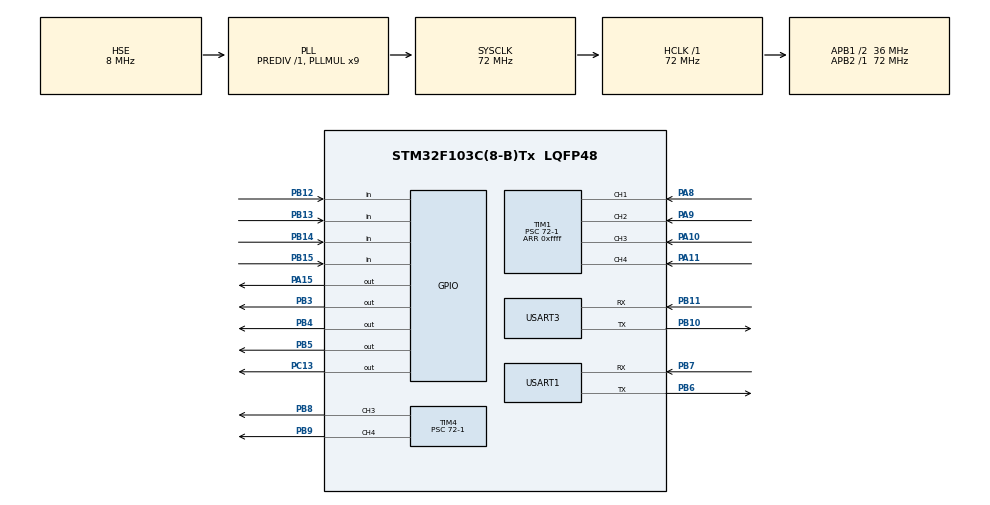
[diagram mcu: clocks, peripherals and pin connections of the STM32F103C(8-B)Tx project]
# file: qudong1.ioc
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Dma.Request0=USART1_RX
Dma.Request1=USART1_TX
Dma.Request2=USART3_RX
Dma.Request3=USART3_TX
Dma.USART1_RX.0.Direction=DMA_PERIPH_TO_MEMORY
Dma.USART1_RX.0.Instance=DMA1_Channel5
Dma.USART1_RX.0.MemDataAlignment=DMA_MDATAALIGN_BYTE
Dma.USART1_RX.0.MemInc=DMA_MINC_ENABLE
Dma.USART1_RX.0.Mode=DMA_CIRCULAR
Dma.USART1_RX.0.PeriphDataAlignment=DMA_PDATAALIGN_BYTE
Dma.USART1_RX.0.PeriphInc=DMA_PINC_DISABLE
Dma.USART1_RX.0.Priority=DMA_PRIORITY_LOW
Dma.USART1_TX.1.Direction=DMA_MEMORY_TO_PERIPH
Dma.USART1_TX.1.Instance=DMA1_Channel4
Dma.USART1_TX.1.MemDataAlignment=DMA_MDATAALIGN_BYTE
Dma.USART1_TX.1.MemInc=DMA_MINC_ENABLE
Dma.USART1_TX.1.Mode=DMA_CIRCULAR
Dma.USART1_TX.1.PeriphDataAlignment=DMA_PDATAALIGN_BYTE
Dma.USART1_TX.1.PeriphInc=DMA_PINC_DISABLE
Dma.USART1_TX.1.Priority=DMA_PRIORITY_LOW
Dma.USART3_RX.2.Direction=DMA_PERIPH_TO_MEMORY
Dma.USART3_RX.2.Instance=DMA1_Channel3
Dma.USART3_RX.2.MemDataAlignment=DMA_MDATAALIGN_BYTE
Dma.USART3_RX.2.MemInc=DMA_MINC_ENABLE
Dma.USART3_RX.2.Mode=DMA_NORMAL
Dma.USART3_RX.2.PeriphDataAlignment=DMA_PDATAALIGN_BYTE
Dma.USART3_RX.2.PeriphInc=DMA_PINC_DISABLE
Dma.USART3_RX.2.Priority=DMA_PRIORITY_LOW
Dma.USART3_TX.3.Direction=DMA_MEMORY_TO_PERIPH
Dma.USART3_TX.3.Instance=DMA1_Channel2
Dma.USART3_TX.3.MemDataAlignment=DMA_MDATAALIGN_BYTE
Dma.USART3_TX.3.MemInc=DMA_MINC_ENABLE
Dma.USART3_TX.3.Mode=DMA_CIRCULAR
Dma.USART3_TX.3.PeriphDataAlignment=DMA_PDATAALIGN_BYTE
Dma.USART3_TX.3.PeriphInc=DMA_PINC_DISABLE
Dma.USART3_TX.3.Priority=DMA_PRIORITY_LOW
Mcu.Family=STM32F1
Mcu.Name=STM32F103C(8-B)Tx
Mcu.Package=LQFP48
NVIC.DMA1_Channel2_IRQn=true\:0\:0\:false\:false\:true\:false\:true\:true
NVIC.DMA1_Channel3_IRQn=true\:0\:0\:false\:false\:true\:false\:true\:true
NVIC.DMA1_Channel4_IRQn=true\:0\:0\:false\:false\:true\:false\:true\:true
NVIC.DMA1_Channel5_IRQn=true\:0\:0\:false\:false\:true\:false\:true\:true
NVIC.PriorityGroup=NVIC_PRIORITYGROUP_4
NVIC.TIM1_CC_IRQn=true\:0\:0\:true\:false\:true\:true\:true\:true
NVIC.TIM2_IRQn=true\:0\:0\:true\:false\:true\:true\:true\:true
NVIC.TIM3_IRQn=true\:0\:0\:false\:false\:true\:true\:true\:true
NVIC.TIM4_IRQn=true\:0\:0\:true\:false\:true\:true\:true\:true
NVIC.USART1_IRQn=true\:0\:0\:true\:false\:true\:true\:true\:true
NVIC.USART3_IRQn=true\:0\:0\:true\:false\:true\:true\:true\:true
PA10.Signal=S_TIM1_CH3
PA11.Signal=S_TIM1_CH4
PA13.Mode=Serial_Wire
PA13.Signal=SYS_JTMS-SWDIO
PA14.Mode=Serial_Wire
PA14.Signal=SYS_JTCK-SWCLK
PA15.PinState=GPIO_PIN_RESET
PA15.Signal=GPIO_Output
PA8.Signal=S_TIM1_CH1
PA9.Signal=S_TIM1_CH2
PB10.Mode=Asynchronous
PB10.Signal=USART3_TX
PB11.Mode=Asynchronous
PB11.Signal=USART3_RX
PB12.Signal=GPIO_Input
PB13.Signal=GPIO_Input
PB14.Signal=GPIO_Input
PB15.Signal=GPIO_Input
PB3.PinState=GPIO_PIN_RESET
PB3.Signal=GPIO_Output
PB4.PinState=GPIO_PIN_RESET
PB4.Signal=GPIO_Output
PB5.PinState=GPIO_PIN_RESET
PB5.Signal=GPIO_Output
PB6.Mode=Asynchronous
PB6.Signal=USART1_TX
PB7.Mode=Asynchronous
PB7.Signal=USART1_RX
PB8.Signal=S_TIM4_CH3
PB9.Signal=S_TIM4_CH4
PC13-TAMPER-RTC.Signal=GPIO_Output
PD0-OSC_IN.Mode=HSE-External-Oscillator
PD0-OSC_IN.Signal=RCC_OSC_IN
PD1-OSC_OUT.Mode=HSE-External-Oscillator
PD1-OSC_OUT.Signal=RCC_OSC_OUT
ProjectManager.HeapSize=0x200
ProjectManager.StackSize=0x400
ProjectManager.TargetToolchain=MDK-ARM V5.32
RCC.AHBFreq_Value=72000000
RCC.APB1CLKDivider=RCC_HCLK_DIV2
RCC.APB1Freq_Value=36000000
RCC.APB1TimFreq_Value=72000000
RCC.APB2Freq_Value=72000000
RCC.APB2TimFreq_Value=72000000
RCC.HCLKFreq_Value=72000000
RCC.PLLMUL=RCC_PLL_MUL9
RCC.PLLSourceVirtual=RCC_PLLSOURCE_HSE
RCC.SYSCLKFreq_VALUE=72000000
RCC.SYSCLKSource=RCC_SYSCLKSOURCE_PLLCLK
RCC.USBFreq_Value=72000000
SH.S_TIM1_CH1.0=TIM1_CH1,Input_Capture1_from_TI1
SH.S_TIM1_CH2.0=TIM1_CH2,Input_Capture2_from_TI2
SH.S_TIM1_CH3.0=TIM1_CH3,Input_Capture3_from_TI3
SH.S_TIM1_CH4.0=TIM1_CH4,Input_Capture4_from_TI4
SH.S_TIM4_CH3.0=TIM4_CH3,PWM Generation3 CH3
SH.S_TIM4_CH4.0=TIM4_CH4,PWM Generation4 CH4
TIM1.Channel-Input_Capture1_from_TI1=TIM_CHANNEL_1
TIM1.Channel-Input_Capture2_from_TI2=TIM_CHANNEL_2
TIM1.Channel-Input_Capture3_from_TI3=TIM_CHANNEL_3
TIM1.Channel-Input_Capture4_from_TI4=TIM_CHANNEL_4
TIM1.Period=0xffff
TIM1.Prescaler=72-1
TIM1.RepetitionCounter=0
TIM2.Period=5000
TIM2.Prescaler=719
TIM3.Period=9999
TIM3.Prescaler=7199
TIM4.Channel-PWM\ Generation3\ CH3=TIM_CHANNEL_3
TIM4.Channel-PWM\ Generation4\ CH4=TIM_CHANNEL_4
TIM4.Period=1000
TIM4.Prescaler=72-1
USART1.VirtualMode=VM_ASYNC
USART3.VirtualMode=VM_ASYNC
VP_TIM2_VS_ClockSourceINT.Mode=Internal
VP_TIM3_VS_ClockSourceINT.Mode=Internal
VP_TIM4_VS_ClockSourceINT.Mode=Internal
board=custom

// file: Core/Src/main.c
/* USER CODE BEGIN Header */
/* USER CODE END Header */
#include "main.h"
#include "dma.h"
#include "tim.h"
#include "usart.h"
#include "gpio.h"

/* USER CODE BEGIN Includes */
#include "stdio.h"
#include "stdlib.h"
/* USER CODE END Includes */

/* USER CODE BEGIN PTD */
uint8_t rx_buf1=0;                           //串口通讯数据储存
uint8_t rx_buf2[10] = {0};
uint8_t rx_buf3[5]="aaaa";
float capture_buf3=0,capture_buf4=0;        //pid计算时间控制参数
int capture_flag3=0,capture_flag4=0;
# define paraspeed 330000                   //速度计算参数
#define  targestangz 80
int startflag=0;
//小车姿态结构体
struct gesture
{
	float angz;			//车头偏差角度
//	float angx;
//	float angy;
	float w;
	float x3;
	float x4;
	float v3;            //right speed
	float v4;            //left speed
	float x;
	float pwm_angz;			 //小车角度PID输出
  float pwm_v3;
  float pwm_v4;        //PID的输出
};

struct pidstruct
{
	float kp,ki,kd;
	float p,i,d;
	float thisde,lastde,beforede;
	float integralde;
};

struct gesture curgest;   //当前姿态
struct gesture targest;   //目标姿态
//struct gesture inigest;
//struct pidstruct angxpid;
//struct pidstruct angypid;
struct pidstruct angzpid;  //角度PID配置
struct pidstruct x3pid;
struct pidstruct x4pid;
struct pidstruct v3pid;
struct pidstruct v4pid;   //速度PID配置
float pidK;										//pid的系数（）方便调试
float inittarspeed;
/* USER CODE END PTD */

/* USER CODE BEGIN PD */
void SystemClock_Config(void);
void Task_Delay(int time);                              //任务定时器
void Wheel(int num,int pwm);                                            //选择轮子并设定pwm控速
void HAL_TIM_IC_CaptureCallback(TIM_HandleTypeDef *htim);//Input capture NVIC   //测速使用的中断函数
float PID(struct pidstruct *e,float err,float outlow,float outhigh);    //位置式PID函数
float Incremental_PID(struct pidstruct *e,float err, float MaxOutput,float MinOutput) ;     //增量式PID
/* USER CODE END PD */

void SystemClock_Config(void);
/* USER CODE BEGIN PFP */
int fputc(int ch,FILE *f)
//fputc是c语言中printf的底层函数，为了使其能在串口中使用，需要重新定义一下这个函数
{
	HAL_UART_Transmit(&huart1,(uint8_t*)&ch,1,10);
	return ch;
}
//接收字符串转换成数字
int transfer_int(uint8_t *data)
{
	int transfer=0;
	for(int i=0;i<5;i++)
	{

	 if(data[i]<='9'&&data[i]>='0')
	 {
     transfer+=(data[i]-48);
		 if(data[i+1]<='9'&&data[i+1]>='0')
		 {
			 transfer*=10;
		 }
		 else
		 {
			 break;
		 }
	 }
  }
	return transfer;
}
void Wheel(int num,int pwm)      //通过PWM信号直接控制电机转速
{
	int direct;
	if(pwm>1000) pwm=1000;
	if(pwm<-1000) pwm=-1000;

	if(pwm>=0)  direct=1;
	if(pwm<0)   direct=0;

	switch(num){
		case 3:
			switch(direct){
				case 0:
					__HAL_TIM_SET_COMPARE(&htim4,TIM_CHANNEL_3,1000+pwm);//w3_pwm_out
					HAL_GPIO_WritePin(GPIOB,GPIO_PIN_3,1);//w3_gpio_out
					break;
				case 1:
					__HAL_TIM_SET_COMPARE(&htim4,TIM_CHANNEL_3,pwm);//w3_pwm_out
					HAL_GPIO_WritePin(GPIOB,GPIO_PIN_3,0);//w3_gpio_out
					break;
			}
			break;
		case 4:
			switch(direct){
				case 0:
					__HAL_TIM_SET_COMPARE(&htim4,TIM_CHANNEL_4,-pwm);//w4_pwm_out
					HAL_GPIO_WritePin(GPIOA,GPIO_PIN_15,0);//w4_gpio_out
					break;
				case 1:
					__HAL_TIM_SET_COMPARE(&htim4,TIM_CHANNEL_4,1000-pwm);//w4_pwm_out
					HAL_GPIO_WritePin(GPIOA,GPIO_PIN_15,1);//w4_gpio_out
					break;
			}
			break;
	}

}
void HAL_TIM_IC_CaptureCallback(TIM_HandleTypeDef *htim)//input capture NVIC     测速
{
	static float catch1[3], catch2[3];
	int judge1, judge2;
	if (htim==&htim1 && htim->Channel==HAL_TIM_ACTIVE_CHANNEL_3)//w3_gpio_in
	{
		judge1=HAL_GPIO_ReadPin (GPIOB, GPIO_PIN_14) ;
		catch1[1]=HAL_TIM_ReadCapturedValue (htim, TIM_CHANNEL_3) ;
		catch1[2]=catch1[1]-catch1[0];
		if (catch1[2]<0) catch1[2]+=0xffff;
		catch1[0]=catch1[1];
		capture_buf3+=catch1[2];       //累计时间
		capture_flag3++;              //标志位 标记累计次数
		if(capture_flag3>11)
		{
		 curgest.v3 =paraspeed/capture_buf3;
		 capture_buf3=0;
		 capture_flag3=0;
		}
	}
	if (htim==&htim1 && htim->Channel==HAL_TIM_ACTIVE_CHANNEL_4)//w4_gpio_in
	{
		judge2=HAL_GPIO_ReadPin (GPIOB, GPIO_PIN_15) ;
		catch2[1]=HAL_TIM_ReadCapturedValue (htim, TIM_CHANNEL_4) ;
		catch2[2]=catch2[1]-catch2[0];
		if (catch2[2]<0) catch2[2]+=0xffff;
		catch2[0]=catch2[1];
		curgest.x4+=0.52f;
		capture_buf4+=catch2[2];       //累计时间
		capture_flag4++;              //标志位 标记累计次数
		if(capture_flag4>11)
		{
		   curgest.v4 =paraspeed/capture_buf4;
		   capture_buf4=0;
		   capture_flag4=0;
		}
	}

}

void DataGet1(uint8_t rx_buf)//蓝牙 通过手机直接来调节PID并且可以显示速度
{
		switch(rx_buf)
		{
			case 'a': v3pid.kp-=1;printf("v3pid.kp%f\r\n",v3pid.kp);break  ;
			case 'b': v3pid.ki-=0.1;printf("v3pid.ki%f\r\n",v3pid.ki);break ;
			case 'c': v3pid.kd-=1;printf("v3pid.kd%f\r\n",v3pid.kd);break  ;
			case 'A': v3pid.kp+=1;printf("v3pid.kp%f\r\n",v3pid.kp);break  ;
			case 'B': v3pid.ki+=1;printf("v3pid.ki%f\r\n",v3pid.ki);break  ;
			case 'C': v3pid.kd+=1;printf("v3pid.kd%f\r\n",v3pid.kd);break  ;
			case 'd': v4pid.kp-=1;printf("v4pid,kp%f\r\n",v4pid.kp);break  ;
			case 'e': v4pid.ki-=0.1;printf("v4pid.ki%f\r\n",v4pid.ki);break  ;
			case 'f': v4pid.kd-=1;printf("v4pid.kd%f\r\n",v4pid.kd);break  ;
			case 'D': v4pid.kp+=1;printf("v4pid.kp%f\r\n",v4pid.kp);break  ;
			case 'E': v4pid.ki+=0.1;printf("v4pid.ki%f\r\n",v4pid.ki);break  ;
			case 'F': v4pid.kd+=0.1;printf("v4pid.kd%f\r\n",v4pid.kd);break  ;

			case 'g': printf("l s%f n%f\r\n",targest.v4,curgest.v4);break;
			case 'G': printf("r s%f n%f\r\n",targest.v3,curgest.v3);break;

//			case 'a': angzpid.kp-=0.1;printf("angzpid.kp%f\r\n",angzpid.kp);break  ;
//			case 'b': angzpid.ki-=0.01;printf("angzpid.ki%f\r\n",angzpid.ki);break  ;
//			case 'c': angzpid.kd-=0.1;printf("angzpid.kd%f\r\n",angzpid.kd);break  ;
//			case 'A': angzpid.kp+=0.1;printf("angzpid.kp%f\r\n",angzpid.kp);break  ;
//			case 'B': angzpid.ki+=0.01;printf("angzpid.ki%f\r\n",angzpid.ki);break  ;
//			case 'C': angzpid.kd+=0.1;printf("angzpid.kd%f\r\n",angzpid.kd);break  ;
//			case 'd': pidK -= 0.1; printf("current pidk is %f\r\n",pidK);break;
//			case 'D': pidK += 0.1; printf("current pidk is %f\r\n",pidK);break;
//			case 'e': printf("pwmright%f\r\n",curgest.pwm_v3 );break  ;
//		  case 'E': printf("pwmleft%f\r\n",curgest.pwm_v4 );break  ;
//			case 'h': inittarspeed-= 1; printf("inittar is %f\r\n",inittarspeed);break;
//			case 'H': inittarspeed+= 1; printf("inittar is %f\r\n",inittarspeed);break;
      default: break  ;
		}
		HAL_UART_Receive_IT(&huart1,&rx_buf1,1);
}
void DataGet2(uint8_t data)//陀螺仪
{

}
void DataGet3(uint8_t *data)              //树莓派通讯 输入角度参数
{
	  int angz;
	 angz=transfer_int(data);
   curgest.angz=angz;
		if(curgest.angz>83&&curgest.angz<250)
		{
		targest.v4=inittarspeed-PID(&angzpid,targest.angz-curgest.angz,-20,20) * pidK;
	  targest.v3=inittarspeed+PID(&angzpid,targest.angz-curgest.angz,-20,20) * pidK;
		}
		else if(curgest.angz<77)
		{
		targest.v4=inittarspeed-PID(&angzpid,targest.angz-curgest.angz,-20,20) * pidK;
	  targest.v3=inittarspeed+PID(&angzpid,targest.angz-curgest.angz,-20,20) * pidK;
		}
//		else if(curgest.angz==255)
//		{
//			inittarspeed=0;
//			targest.v4=0;
//      targest.v3=0;
//      HAL_TIM_Base_Start_IT(&htim3);
//		}
//		else if(curgest.angz==254)
//		{
//			inittarspeed=0;
//			targest.v4=0;
//      targest.v3=0;
//		}
		else
		{
		targest.v4=inittarspeed;
	  targest.v3=inittarspeed;
		}

	 HAL_UART_Receive_IT(&huart3,rx_buf3,4);
	 HAL_GPIO_TogglePin(GPIOC,GPIO_PIN_13);

}
void HAL_UART_RxCpltCallback(UART_HandleTypeDef *huart)//串口中断 接收完成回调函数  stm32的三个串口一旦接收完成了数据都会进入这个函数
{
	if(huart == &huart3)
	{
		DataGet3(rx_buf3);
	}
	if(huart == &huart1)            //蓝牙通讯串口
	{
		DataGet1(rx_buf1);
	}
}
void HAL_TIM_PeriodElapsedCallback(TIM_HandleTypeDef *htim)        //定时器计算PID 频率为50Hz
{
	if(htim->Instance == TIM2)
	{
		targest.pwm_v3+=Incremental_PID(&v3pid,targest.v3-curgest.v3, 500,-500);
		targest.pwm_v4+=Incremental_PID(&v4pid,targest.v4-curgest.v4, 500,-500);
  }
	if(htim->Instance == TIM3)
	{

//		startflag+=1;
//		if(startflag==5)
//		{
//			HAL_TIM_Base_Stop_IT(&htim3);
//			inittarspeed=45;
//			targest.v4=inittarspeed;
//      targest.v3=inittarspeed;
//
//		}
	}
}
float PID(struct pidstruct *e,float err,float outlow,float outhigh)     //位置式PID
{
	float out;
	e->thisde=err;
	e->integralde+=e->thisde;
	if (e->integralde >= 8) e->integralde = 8;
	e->p = e->kp * e->thisde;
	e->i = e->ki * e->integralde;
	e->d = e->kd * (e->thisde - e->lastde);
	e->lastde = e->thisde;
	out = e->p + e->i + e->d;
	if(out>outhigh) {out=outhigh;}
	if(out<outlow) {out=outlow ;}
	return out;
}

float Incremental_PID(struct pidstruct *e,float err, float MaxOutput,float MinOutput)  //增量式PID
{
	float out;
	e->thisde=err;
  e->p = e->kp*(e->thisde - e->lastde);
	e->i =  e->ki * e->thisde;
	e->d = e->kd *(e->thisde - 2.0f*e->lastde + e->beforede);
	//积分限幅
	out= (e->p + e->i + e->d );
	//输出限幅
	e->beforede = e->lastde;
	e->lastde = e->thisde;
	if(out>MaxOutput)
	{
		out=MaxOutput;
	}
	if(out<MinOutput)
	{
		out=MinOutput;
	}
	return out;
}

struct pidstruct initpid(float kp,float ki,float kd,struct pidstruct e)//初始化pid
{
	e.kp=kp;
	e.ki=ki;
	e.kd=kd;
	e.p=0;
	e.i=0;
	e.d=0;
	e.lastde=0;
	e.thisde=0;
	e.beforede=0;
	e.integralde=0;
	return e;
}
void Task_Delay(int time)
{

}
void CAR_init()
{
//*************************************************pid 初始化*************************************//
//	x3pid=initpid(9,0.7,0,x3pid);
//	x4pid=initpid(9,0.7,0,x4pid);
	v3pid=initpid(50,150,7,v3pid);
	v4pid=initpid(20,10.9,6.6,v4pid);
	angzpid=initpid(0.6,0 ,0.1,angzpid);
	pidK=1.0;
//************************************************初始姿态初始化**************************************//
//	curgest.angx=inigest.angx;
//	curgest.angy=inigest.angy;
//	curgest.angz=inigest.angz;
	inittarspeed=40;
	targest.angz=targestangz;
	curgest.v4=0;
	curgest.v3=0;
	targest.v3=inittarspeed;
	targest.v4=inittarspeed;
	curgest.pwm_v3=0;
	curgest.pwm_v4=0;
	Wheel(4,curgest.pwm_v4);
	Wheel(3,curgest.pwm_v3);
	HAL_Delay(1000);
}
/* USER CODE END PFP */

int main(void)
{

  /* MCU Configuration--------------------------------------------------------*/

  /* Reset of all peripherals, Initializes the Flash interface and the Systick. */
  HAL_Init();

  /* Configure the system clock */
  SystemClock_Config();

  /* Initialize all configured peripherals */
  MX_GPIO_Init();
  MX_USART1_UART_Init();
  MX_TIM1_Init();
  MX_TIM2_Init();
  MX_DMA_Init();
  MX_USART3_UART_Init();
  MX_TIM4_Init();
  MX_TIM3_Init();
  /* USER CODE BEGIN 2 */
//*********************************************初始化***********************************************//
	HAL_UART_Receive_IT(&huart1,&rx_buf1,1);   //串口通讯初始化
	HAL_UART_Receive_IT(&huart3,rx_buf3,4);
	HAL_TIM_PWM_Start(&htim4,TIM_CHANNEL_3);   //pwm通道初始化
	HAL_TIM_PWM_Start(&htim4,TIM_CHANNEL_4);
	HAL_TIM_Base_Start_IT(&htim4);
	HAL_TIM_Base_Start_IT(&htim2);             //定时器开始
	HAL_TIM_IC_Start_IT(&htim1,TIM_CHANNEL_1); //编码器采集通道初始化
	HAL_TIM_IC_Start_IT(&htim1,TIM_CHANNEL_2);
	HAL_TIM_IC_Start_IT(&htim1,TIM_CHANNEL_3);
	HAL_TIM_IC_Start_IT(&htim1,TIM_CHANNEL_4);
	CAR_init();                                 //小车状态初始化
  /* USER CODE END 2 */

  /* Infinite loop */
  /* USER CODE BEGIN WHILE */
  while (1)
  {
		Wheel(4,targest.pwm_v4);
		Wheel(3,targest.pwm_v3);
    /* USER CODE END WHILE */
  }
}

void SystemClock_Config(void)
{
  RCC_OscInitTypeDef RCC_OscInitStruct = {0};
  RCC_ClkInitTypeDef RCC_ClkInitStruct = {0};

  /** Initializes the RCC Oscillators according to the specified parameters
  * in the RCC_OscInitTypeDef structure.
  */
  RCC_OscInitStruct.OscillatorType = RCC_OSCILLATORTYPE_HSE;
  RCC_OscInitStruct.HSEState = RCC_HSE_ON;
  RCC_OscInitStruct.HSEPredivValue = RCC_HSE_PREDIV_DIV1;
  RCC_OscInitStruct.HSIState = RCC_HSI_ON;
  RCC_OscInitStruct.PLL.PLLState = RCC_PLL_ON;
  RCC_OscInitStruct.PLL.PLLSource = RCC_PLLSOURCE_HSE;
  RCC_OscInitStruct.PLL.PLLMUL = RCC_PLL_MUL9;
  if (HAL_RCC_OscConfig(&RCC_OscInitStruct) != HAL_OK)
  {
    Error_Handler();
  }

  /** Initializes the CPU, AHB and APB buses clocks
  */
  RCC_ClkInitStruct.ClockType = RCC_CLOCKTYPE_HCLK|RCC_CLOCKTYPE_SYSCLK
                              |RCC_CLOCKTYPE_PCLK1|RCC_CLOCKTYPE_PCLK2;
  RCC_ClkInitStruct.SYSCLKSource = RCC_SYSCLKSOURCE_PLLCLK;
  RCC_ClkInitStruct.AHBCLKDivider = RCC_SYSCLK_DIV1;
  RCC_ClkInitStruct.APB1CLKDivider = RCC_HCLK_DIV2;
  RCC_ClkInitStruct.APB2CLKDivider = RCC_HCLK_DIV1;

  if (HAL_RCC_ClockConfig(&RCC_ClkInitStruct, FLASH_LATENCY_2) != HAL_OK)
  {
    Error_Handler();
  }
}

void Error_Handler(void)
{
  __disable_irq();
  while (1)
  {
  }
}
